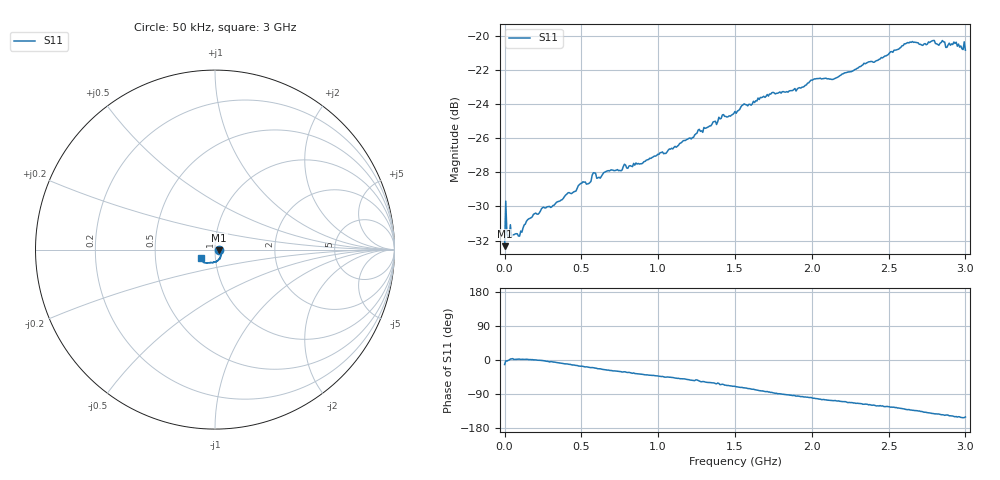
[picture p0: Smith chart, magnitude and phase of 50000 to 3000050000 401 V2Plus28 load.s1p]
! NanoVNA-App
! Date: 2020-11-14 10:24:41
! Start: 50kHz Stop: 3.0001GHz Points: 401
! S-Parameter data: F S11
# Hz S RI R 50
!  Frequency  S11 Real  S11 Imag
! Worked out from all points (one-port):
!   401 points, 50 kHz to 3 GHz, reference 50 ohm
!   lowest |S11| = -32.3 dB at 50 kHz (marker M1), VSWR 1.05, Z = 52.4 - j0.525 ohm
!   |S11| at or under -10 dB: start of sweep to end of sweep
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50000  0.0237 -0.005
2.255e7  0.0257 -0.000465
3.005e7  0.0257 5.99e-05
9.755e7  0.0258 0.00113
1.4255e8  0.0286 0.000997
1.8755e8  0.03 0.000275
3.7505e8  0.0327 -0.00494
4.5005e8  0.034 -0.00793
4.9505e8  0.0354 -0.0104
5.4755e8  0.0348 -0.0123
5.8505e8  0.0371 -0.0141
6.1505e8  0.0354 -0.0151
6.6005e8  0.0359 -0.0177
7.5005e8  0.0347 -0.0206
8.9255e8  0.0335 -0.0257
1.12505e9  0.0314 -0.0356
1.41005e9  0.0245 -0.0518
1.50005e9  0.021 -0.0563
1.55255e9  0.0182 -0.0602
1.59755e9  0.0155 -0.0611
1.74005e9  0.00536 -0.068
1.87505e9  -0.00472 -0.069
2.01005e9  -0.0142 -0.0732
2.14505e9  -0.0224 -0.0714
2.25005e9  -0.0299 -0.0725
2.62505e9  -0.0631 -0.072
2.85005e9  -0.0789 -0.0564
3.00005e9  -0.0789 -0.0451
